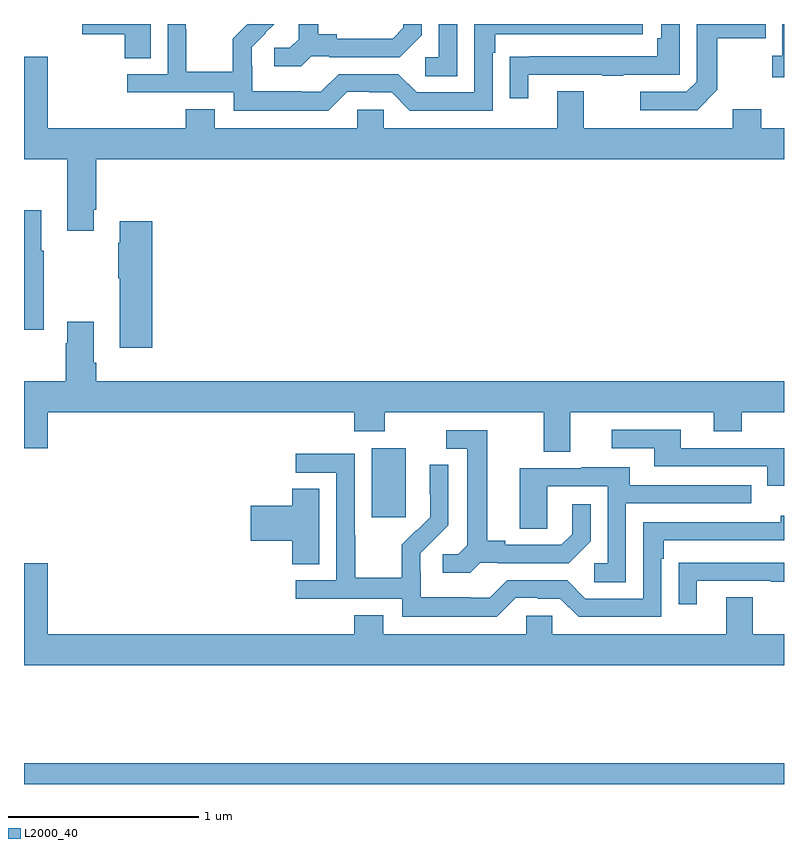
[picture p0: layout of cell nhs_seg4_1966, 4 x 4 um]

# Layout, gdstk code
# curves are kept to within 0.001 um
import gdstk
lib = gdstk.Library(unit=1e-6, precision=1e-09)
def R(c, l, rs):  # rectangles x0, y0, x1, y1
    for r in rs: c.add(gdstk.rectangle(r[:2], r[2:], *l))
def P(c, l, *ps):  # polygons
    for p in ps: c.add(gdstk.Polygon(p, *l))
L2000_40 = (2000, 40)

nhs_seg4_1966 = lib.new_cell('nhs_seg4_1966')
R(nhs_seg4_1966, L2000_40, [(213,758.9,217,759.008), (214.829,760.305,215.008,760.666)])
P(nhs_seg4_1966, L2000_40, [(213.667,762.9),(213.306,762.9),(213.306,762.845),(213.529,762.845),(213.529,762.721),(213.667,762.721)],
  [(214.701,762.543),(214.817,762.543),(214.817,762.54),(214.935,762.54),(215.031,762.444),(215.466,762.444),(215.466,762.749),(215.479,762.749),(215.479,762.846),(216.256,762.846),(216.256,762.9),(215.37,762.9),(215.37,762.54),(215.067,762.54),(214.971,762.636),(214.656,762.636),(214.563,762.543),(214.463,762.543),(214.463,762.547),(214.2,762.547),(214.2,762.681),(214.198,762.681),(214.198,762.778),(214.318,762.9),(214.182,762.9),(214.179,762.897),(214.176,762.9),(214.099,762.823),(214.099,762.649),(213.855,762.649),(213.855,762.872),(213.852,762.872),(213.852,762.9),(213.756,762.9),(213.756,762.636),(213.543,762.636),(213.543,762.54),(214.104,762.54),(214.104,762.443),(214.601,762.443)],
  [(214.512,762.729),(214.606,762.729),(214.606,762.726),(214.978,762.726),(215.094,762.842),(215.094,762.9),(214.997,762.9),(214.997,762.879),(214.94,762.822),(214.645,762.822),(214.645,762.845),(214.549,762.845),(214.549,762.9),(214.445,762.9),(214.445,762.821),(214.398,762.774),(214.317,762.774),(214.317,762.677),(214.46,762.677)],
  [(216.649,762.553),(216.649,762.826),(216.905,762.826),(216.905,762.9),(216.54,762.9),(216.54,762.597),(216.486,762.543),(216.243,762.543),(216.243,762.447),(216.543,762.447)],
  [(215.653,762.633),(216.043,762.633),(216.043,762.628),(216.155,762.628),(216.155,762.633),(216.45,762.633),(216.45,762.9),(216.354,762.9),(216.354,762.826),(216.334,762.826),(216.334,762.729),(215.659,762.729),(215.659,762.728),(215.557,762.728),(215.557,762.51),(215.653,762.51)],
  [(217,762.9),(216.99,762.9),(216.99,762.734),(216.939,762.734),(216.939,762.621),(217,762.621)],
  [(215.28,762.9),(215.184,762.9),(215.184,762.726),(215.112,762.726),(215.112,762.625),(215.28,762.625)],
  [(213.367,761.923),(213.38,761.923),(213.38,762.188),(217,762.188),(217,762.352),(216.879,762.352),(216.879,762.451),(216.731,762.451),(216.731,762.352),(215.947,762.352),(215.947,762.547),(215.807,762.547),(215.807,762.352),(214.893,762.352),(214.893,762.45),(214.755,762.45),(214.755,762.352),(214.003,762.352),(214.003,762.451),(213.851,762.451),(213.851,762.352),(213.124,762.352),(213.124,762.727),(213,762.727),(213,762.188),(213.227,762.188),(213.227,761.811),(213.367,761.811)],
  [(213.103,761.707),(213.091,761.707),(213.091,761.92),(213,761.92),(213,761.291),(213.103,761.291)],
  [(213.676,761.863),(213.503,761.863),(213.503,761.75),(213.496,761.75),(213.496,761.561),(213.503,761.561),(213.503,761.196),(213.676,761.196)],
  [(213.367,761.116),(213.367,761.332),(213.227,761.332),(213.227,761.219),(213.22,761.219),(213.22,761.02),(213,761.02),(213,760.668),(213.124,760.668),(213.124,760.856),(214.739,760.856),(214.739,760.757),(214.899,760.757),(214.899,760.856),(215.735,760.856),(215.735,760.648),(215.875,760.648),(215.875,760.856),(216.629,760.856),(216.629,760.757),(216.777,760.757),(216.777,760.856),(217,760.856),(217,761.02),(213.38,761.02),(213.38,761.116)],
  [(217,760.668),(216.457,760.668),(216.457,760.764),(216.093,760.764),(216.093,760.668),(216.317,760.668),(216.317,760.572),(216.912,760.572),(216.912,760.469),(217,760.469)],
  [(215.4,760.065),(215.494,760.065),(215.494,760.062),(215.866,760.062),(215.982,760.178),(215.982,760.372),(215.885,760.372),(215.885,760.215),(215.828,760.158),(215.533,760.158),(215.533,760.181),(215.437,760.181),(215.437,760.761),(215.223,760.761),(215.223,760.665),(215.333,760.665),(215.333,760.157),(215.286,760.11),(215.205,760.11),(215.205,760.013),(215.348,760.013)],
  [(215.589,759.879),(215.705,759.879),(215.705,759.876),(215.823,759.876),(215.919,759.78),(216.354,759.78),(216.354,760.085),(216.367,760.085),(216.367,760.182),(217,760.182),(217,760.312),(216.983,760.312),(216.983,760.278),(216.258,760.278),(216.258,759.876),(215.955,759.876),(215.859,759.972),(215.544,759.972),(215.451,759.879),(215.351,759.879),(215.351,759.883),(215.088,759.883),(215.088,760.017),(215.086,760.017),(215.086,760.114),(215.232,760.262),(215.232,760.58),(215.136,760.58),(215.136,760.426),(215.138,760.426),(215.138,760.304),(215.067,760.233),(215.064,760.236),(214.987,760.159),(214.987,759.985),(214.743,759.985),(214.743,760.208),(214.74,760.208),(214.74,760.638),(214.431,760.638),(214.431,760.539),(214.644,760.539),(214.644,759.972),(214.431,759.972),(214.431,759.876),(214.992,759.876),(214.992,759.779),(215.489,759.779)],
  [(216.168,760.377),(216.827,760.377),(216.827,760.473),(216.187,760.473),(216.187,760.567),(215.933,760.567),(215.933,760.563),(215.609,760.563),(215.609,760.243),(215.754,760.243),(215.754,760.467),(216.072,760.467),(216.072,760.062),(216,760.062),(216,759.961),(216.168,759.961)],
  [(214.555,760.454),(214.412,760.454),(214.412,760.364),(214.194,760.364),(214.194,760.181),(214.412,760.181),(214.412,760.057),(214.555,760.057)],
  [(216.541,759.969),(216.931,759.969),(216.931,759.964),(217,759.964),(217,760.065),(216.547,760.065),(216.547,760.064),(216.445,760.064),(216.445,759.846),(216.541,759.846)],
  [(217,759.688),(216.835,759.688),(216.835,759.883),(216.695,759.883),(216.695,759.688),(215.781,759.688),(215.781,759.786),(215.643,759.786),(215.643,759.688),(214.891,759.688),(214.891,759.787),(214.739,759.787),(214.739,759.688),(213.124,759.688),(213.124,760.063),(213,760.063),(213,759.524),(217,759.524)])

lib.write_gds('nhs_seg4_1966.gds')
